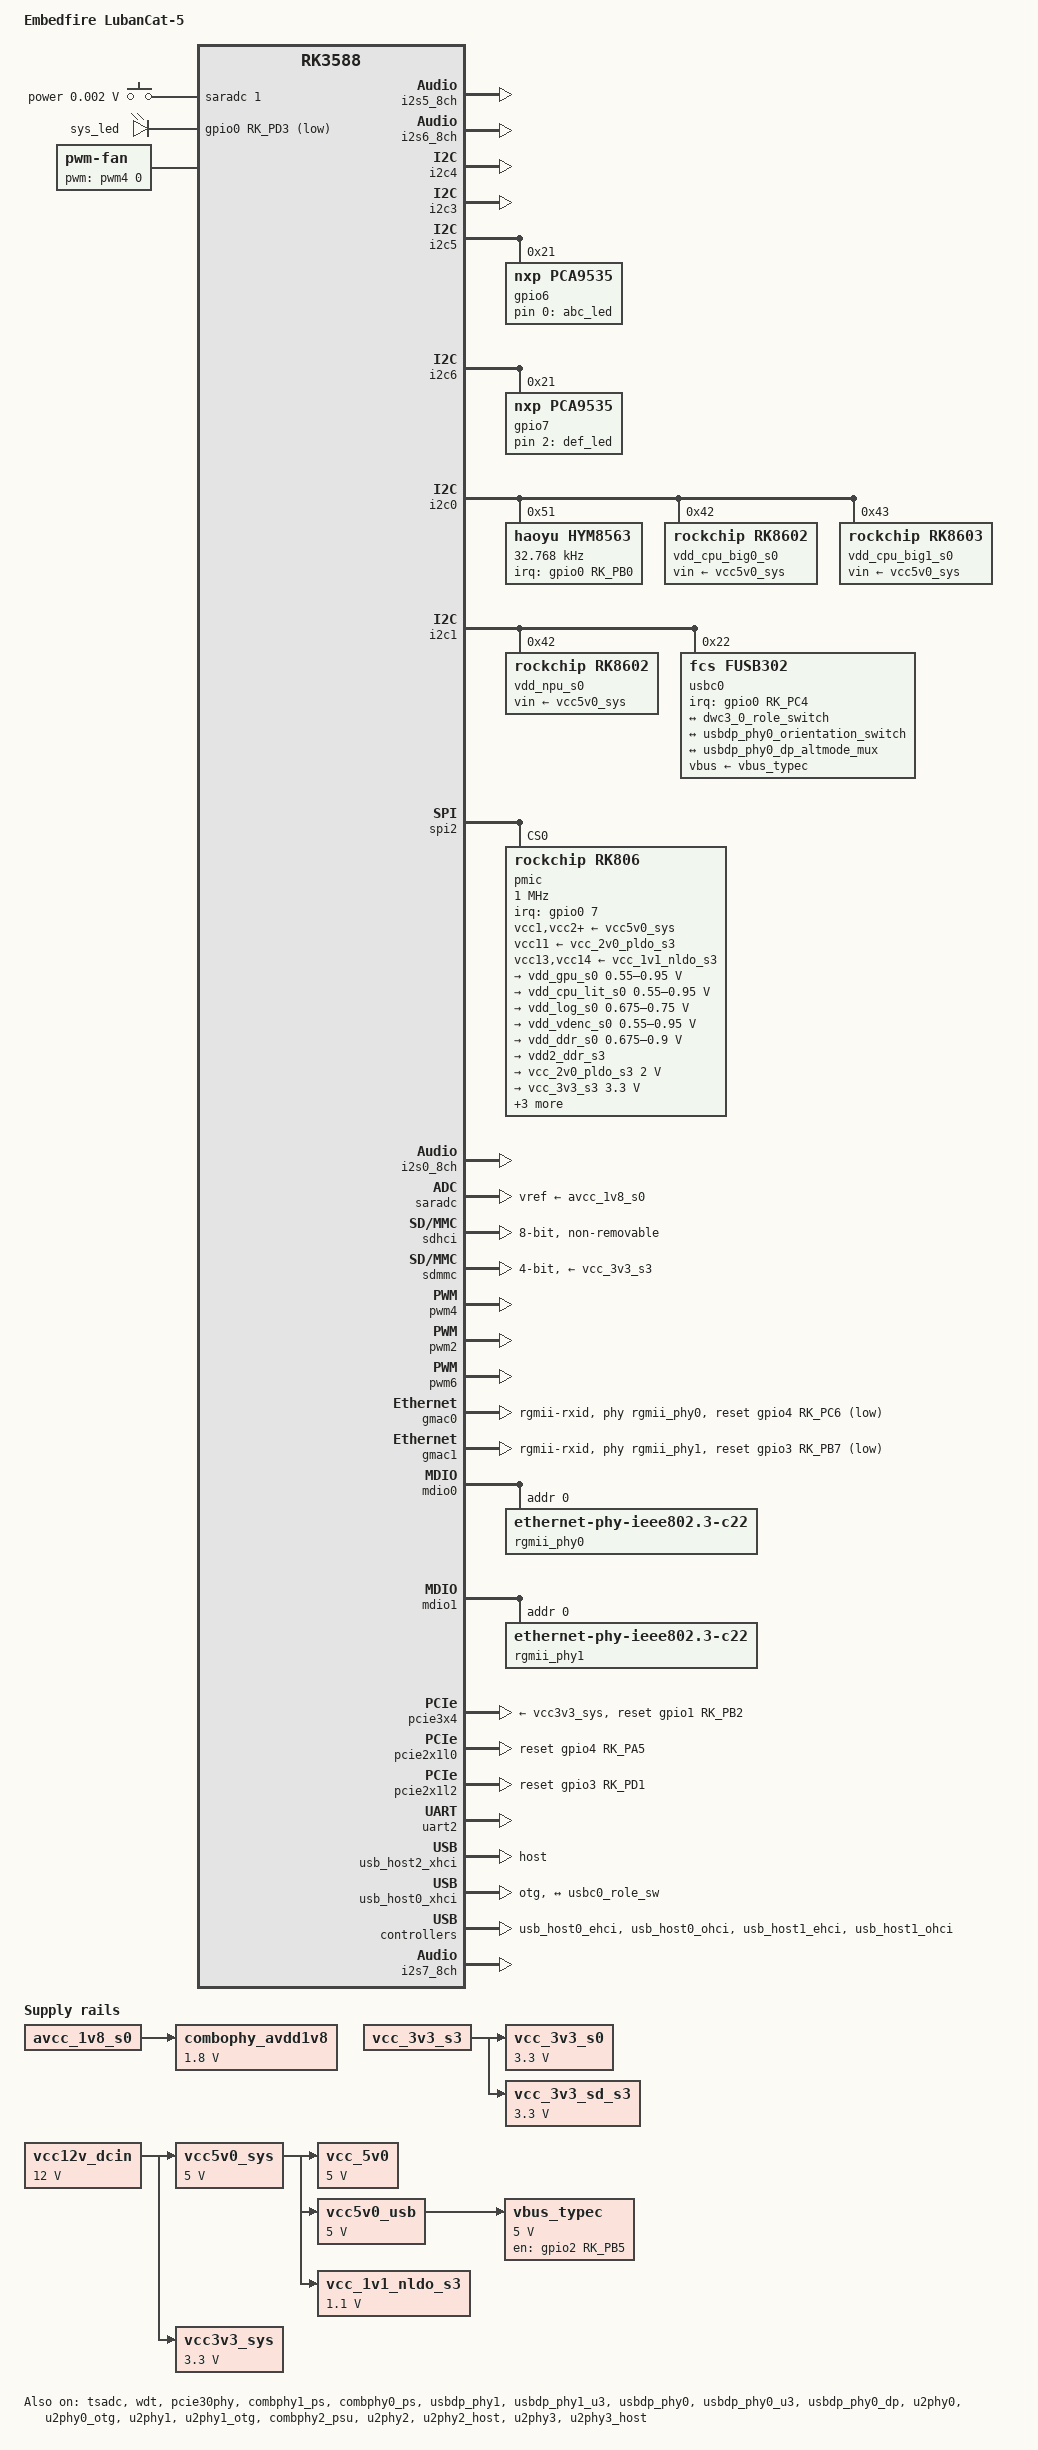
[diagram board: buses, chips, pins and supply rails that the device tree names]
// SPDX-License-Identifier: (GPL-2.0+ OR MIT)
/*
 * Copyright (c) 2021 Rockchip Electronics Co., Ltd.
 * Copyright (c) 2023 EmbedFire <embedfire@embedfire.com>
 */

/dts-v1/;

#include <dt-bindings/gpio/gpio.h>
#include <dt-bindings/input/input.h>
#include <dt-bindings/leds/common.h>
#include <dt-bindings/pinctrl/rockchip.h>
#include <dt-bindings/usb/pd.h>
#include "rk3588.dtsi"

/ {
	model = "Embedfire LubanCat-5";
	compatible = "embedfire,lubancat-5", "rockchip,rk3588";

	adc_keys: adc-keys {
		compatible = "adc-keys";
		io-channels = <&saradc 1>;
		io-channel-names = "buttons";
		keyup-threshold-microvolt = <1800000>;
		poll-interval = <100>;
		
		power {
			label = "power";
			linux,code = <KEY_POWER>;
			press-threshold-microvolt = <1750>;
		};
	};

	leds: leds {
		status = "okay";
		compatible = "gpio-leds";

		sys_led: sys-led {
			label = "sys_led";
			linux,default-trigger = "heartbeat";
			default-state = "on";
			gpios = <&gpio0 RK_PD3 GPIO_ACTIVE_LOW>;
			pinctrl-names = "default";
			pinctrl-0 = <&sys_led_pin>;
		};

		abc_led: abc-led {
			label = "abc_led";
			linux,default-trigger = "heartbeat";
			default-state = "on";
			gpios = <&gpio6 0 GPIO_ACTIVE_HIGH>;
		};

		def_led: def-led {
			label = "def_led";
			linux,default-trigger = "heartbeat";
			default-state = "on";
			gpios = <&gpio7 2 GPIO_ACTIVE_HIGH>;
		};
	};

	vcc12v_dcin: vcc12v-dcin {
		compatible = "regulator-fixed";
		regulator-always-on;
		regulator-boot-on;
		regulator-min-microvolt = <12000000>;
		regulator-max-microvolt = <12000000>;
		regulator-name = "vcc12v_dcin";
	};

	vcc5v0_sys: vcc5v0-sys {
		compatible = "regulator-fixed";
		regulator-name = "vcc5v0_sys";
		regulator-always-on;
		regulator-boot-on;
		regulator-min-microvolt = <5000000>;
		regulator-max-microvolt = <5000000>;
		vin-supply = <&vcc12v_dcin>;
	};

	vcc3v3_sys: vcc3v3-sys {
		compatible = "regulator-fixed";
		regulator-name = "vcc3v3_sys";
		regulator-always-on;
		regulator-boot-on;
		regulator-min-microvolt = <3300000>;
		regulator-max-microvolt = <3300000>;
		vin-supply = <&vcc12v_dcin>;
	};

	vcc_5v0: vcc-5v0 {
		compatible = "regulator-fixed";
		regulator-name = "vcc_5v0";
		regulator-always-on;
		regulator-boot-on;
		regulator-min-microvolt = <5000000>;
		regulator-max-microvolt = <5000000>;
		vin-supply = <&vcc5v0_sys>;
	};

	vcc5v0_usb: vcc5v0-usb {
		compatible = "regulator-fixed";
		regulator-name = "vcc_5v0";
		regulator-always-on;
		regulator-boot-on;
		regulator-min-microvolt = <5000000>;
		regulator-max-microvolt = <5000000>;
		vin-supply = <&vcc5v0_sys>;
	};
	
	combophy_avdd1v8: combophy-avdd1v8 {
		compatible = "regulator-fixed";
		regulator-name = "combophy_avdd1v8";
		regulator-boot-on;
		regulator-min-microvolt = <1800000>;
		regulator-max-microvolt = <1800000>;
		vin-supply = <&avcc_1v8_s0>;
	};

	vcc_1v1_nldo_s3: vcc-1v1-nldo-s3 {
		compatible = "regulator-fixed";
		regulator-name = "vcc_1v1_nldo_s3";
		regulator-always-on;
		regulator-boot-on;
		regulator-min-microvolt = <1100000>;
		regulator-max-microvolt = <1100000>;
		vin-supply = <&vcc5v0_sys>;
	};

	vcc_3v3_s0: vcc-3v3-s0 {
		compatible = "regulator-fixed";
		regulator-name = "vcc_3v3_s0";
		regulator-always-on;
		regulator-boot-on;
		regulator-min-microvolt = <3300000>;
		regulator-max-microvolt = <3300000>;
		vin-supply = <&vcc_3v3_s3>;
	};

	vcc_3v3_sd_s3: vcc-3v3-sd-s3 {
		compatible = "regulator-fixed";
		regulator-name = "vcc_3v3_sd_s3";
		regulator-always-on;
		regulator-boot-on;
		regulator-min-microvolt = <3300000>;
		regulator-max-microvolt = <3300000>;
		vin-supply = <&vcc_3v3_s3>;
	};

	vbus_typec: vbus-typec {
		compatible = "regulator-fixed";
		regulator-name = "vbus_typec";
		regulator-min-microvolt = <5000000>;
		regulator-max-microvolt = <5000000>;
		enable-active-high;
		gpio = <&gpio2 RK_PB5 GPIO_ACTIVE_HIGH>;
		vin-supply = <&vcc5v0_usb>;
		pinctrl-names = "default";
		pinctrl-0 = <&typec_vbus_en>;
	};

	fan: pwm-fan {
		compatible = "pwm-fan";
		#cooling-cells = <2>;
		pwms = <&pwm4 0 5000 0>;
		cooling-levels = <0 100 150 200 255>;
		rockchip,temp-trips = <
			35000	1
			40000	2
			45000	3
			50000	4
		>;
	};
};

&i2s5_8ch {
	status = "okay";
};

&i2s6_8ch {
	status = "okay";
};

&cpu_b0 {
	cpu-supply = <&vdd_cpu_big0_s0>;
	mem-supply = <&vdd_cpu_big0_s0>;
};

&cpu_b1 {
	cpu-supply = <&vdd_cpu_big0_s0>;
	mem-supply = <&vdd_cpu_big0_s0>;
};

&cpu_b2 {
	cpu-supply = <&vdd_cpu_big1_s0>;
	mem-supply = <&vdd_cpu_big1_s0>;
};

&cpu_b3 {
	cpu-supply = <&vdd_cpu_big1_s0>;
	mem-supply = <&vdd_cpu_big1_s0>;
};

&cpu_l0 {
	cpu-supply = <&vdd_cpu_lit_s0>;
	mem-supply = <&vdd_cpu_lit_mem_s0>;
};

&cpu_l1 {
	cpu-supply = <&vdd_cpu_lit_s0>;
	mem-supply = <&vdd_cpu_lit_mem_s0>;
};

&cpu_l2 {
	cpu-supply = <&vdd_cpu_lit_s0>;
	mem-supply = <&vdd_cpu_lit_mem_s0>;
};

&cpu_l3 {
	cpu-supply = <&vdd_cpu_lit_s0>;
	mem-supply = <&vdd_cpu_lit_mem_s0>;
};

&i2c4 {
	status = "okay";
	pinctrl-names = "default";
	pinctrl-0 = <&i2c4m3_xfer>;
};

&i2c3 {
	status = "okay";
	pinctrl-names = "default";
	pinctrl-0 = <&i2c3m0_xfer>;
};

&i2c5 {
	pinctrl-names = "default";
	pinctrl-0 = <&i2c5m2_xfer>;
	status = "okay";

	gpio6: gpio-expander@21 {
		compatible = "nxp,pca9535";
		status = "okay";
		reg = <0x21>;
		gpio-controller;
		#gpio-cells = <2>;
		// pinctrl-names = "default";
		// pinctrl-0 = <&pinctrl_pca9535_1>;
		// interrupt-parent = <&gpio2>;
		// interrupts = <RK_PC4 IRQ_TYPE_LEVEL_HIGH>;
		// interrupt-controller;
		// #interrupt-cells = <2>;
	};
};

&i2c6 {
	status = "okay";
	pinctrl-names = "default";
	pinctrl-0 = <&i2c6m0_xfer>;

	gpio7: gpio-expander@21 {
		compatible = "nxp,pca9535";
		status = "okay";
		reg = <0x21>;
		gpio-controller;
		#gpio-cells = <2>;
		// pinctrl-names = "default";
		// pinctrl-0 = <&pinctrl_pca9535_2>;
		// interrupt-parent = <&gpio2>;
		// interrupts = <RK_PC5 IRQ_TYPE_LEVEL_HIGH>;
		// interrupt-controller;
		// #interrupt-cells = <2>;
	};
};


&i2c0 {
	pinctrl-names = "default";
	pinctrl-0 = <&i2c0m2_xfer>;
	status = "okay";

	hym8563: hym8563@51 {
		compatible = "haoyu,hym8563";
		reg = <0x51>;
		#clock-cells = <0>;
		clock-frequency = <32768>;
		clock-output-names = "hym8563";
		pinctrl-names = "default";
		pinctrl-0 = <&hym8563_int>;
		interrupt-parent = <&gpio0>;
		interrupts = <RK_PB0 IRQ_TYPE_LEVEL_LOW>;
		wakeup-source;
	};

	vdd_cpu_big0_s0: regulator@42 {
		compatible = "rockchip,rk8602";
		reg = <0x42>;
		fcs,suspend-voltage-selector = <1>;
		regulator-name = "vdd_cpu_big0_s0";
		regulator-always-on;
		regulator-boot-on;
		regulator-min-microvolt = <550000>;
		regulator-max-microvolt = <1050000>;
		regulator-ramp-delay = <2300>;
		vin-supply = <&vcc5v0_sys>;

		regulator-state-mem {
			regulator-off-in-suspend;
		};
	};

	vdd_cpu_big1_s0: regulator@43 {
		compatible = "rockchip,rk8603", "rockchip,rk8602";
		reg = <0x43>;
		fcs,suspend-voltage-selector = <1>;
		regulator-name = "vdd_cpu_big1_s0";
		regulator-always-on;
		regulator-boot-on;
		regulator-min-microvolt = <550000>;
		regulator-max-microvolt = <1050000>;
		regulator-ramp-delay = <2300>;
		vin-supply = <&vcc5v0_sys>;

		regulator-state-mem {
			regulator-off-in-suspend;
		};
	};
};

&i2c1 {
	pinctrl-names = "default";
	pinctrl-0 = <&i2c1m2_xfer>;
	status = "okay";

	vdd_npu_s0: vdd_npu_mem_s0: rk8602@42 {
		compatible = "rockchip,rk8602";
		reg = <0x42>;
		vin-supply = <&vcc5v0_sys>;
		regulator-compatible = "rk860x-reg";
		regulator-name = "vdd_npu_s0";
		regulator-min-microvolt = <550000>;
		regulator-max-microvolt = <950000>;
		regulator-ramp-delay = <2300>;
		rockchip,suspend-voltage-selector = <1>;
		regulator-boot-on;
		regulator-always-on;
		regulator-state-mem {
			regulator-off-in-suspend;
		};
	};

	/* Typec Controller Fusb302 */
	usbc0: fusb302@22 {
		compatible = "fcs,fusb302";
		reg = <0x22>;
		interrupt-parent = <&gpio0>;
		interrupts = <RK_PC4 IRQ_TYPE_LEVEL_LOW>;
		pinctrl-names = "default";
		pinctrl-0 = <&fusb302_int>;
		vbus-supply = <&vbus_typec>;
		status = "okay";

		ports {
			#address-cells = <1>;
			#size-cells = <0>;

			port@0 {
				reg = <0>;
				usbc0_role_sw: endpoint@0 {
					remote-endpoint = <&dwc3_0_role_switch>;
				};
			};
		};

		usb_con: connector {
			compatible = "usb-c-connector";
			label = "USB-C";
			data-role = "dual";
			power-role = "dual";
			try-power-role = "sink";
			op-sink-microwatt = <1000000>;
			sink-pdos =
				<PDO_FIXED(5000, 1000, PDO_FIXED_USB_COMM)>;
			source-pdos =
				<PDO_FIXED(5000, 3000, PDO_FIXED_USB_COMM)>;

			altmodes {
				#address-cells = <1>;
				#size-cells = <0>;

				altmode@0 {
					reg = <0>;
					svid = <0xff01>;
					vdo = <0xffffffff>;
				};
			};

			ports {
				#address-cells = <1>;
				#size-cells = <0>;

				port@0 {
					reg = <0>;
					usbc0_orien_sw: endpoint {
						remote-endpoint = <&usbdp_phy0_orientation_switch>;
					};
				};

				port@1 {
					reg = <1>;
					dp_altmode_mux: endpoint {
						remote-endpoint = <&usbdp_phy0_dp_altmode_mux>;
					};
				};
			};
		};
	};
};

&spi2 {
	status = "okay";
	assigned-clocks = <&cru CLK_SPI2>;
	assigned-clock-rates = <200000000>;
	pinctrl-names = "default";
	pinctrl-0 = <&spi2m2_cs0 &spi2m2_pins>;
	num-cs = <1>;

	pmic@0 {
		compatible = "rockchip,rk806";
		spi-max-frequency = <1000000>;
		reg = <0x0>;

		interrupt-parent = <&gpio0>;
		interrupts = <7 IRQ_TYPE_LEVEL_LOW>;

		pinctrl-names = "default";
		pinctrl-0 = <&pmic_pins>, <&rk806_dvs1_null>,
			    <&rk806_dvs2_null>, <&rk806_dvs3_null>;

		system-power-controller;

		vcc1-supply = <&vcc5v0_sys>;
		vcc2-supply = <&vcc5v0_sys>;
		vcc3-supply = <&vcc5v0_sys>;
		vcc4-supply = <&vcc5v0_sys>;
		vcc5-supply = <&vcc5v0_sys>;
		vcc6-supply = <&vcc5v0_sys>;
		vcc7-supply = <&vcc5v0_sys>;
		vcc8-supply = <&vcc5v0_sys>;
		vcc9-supply = <&vcc5v0_sys>;
		vcc10-supply = <&vcc5v0_sys>;
		vcc11-supply = <&vcc_2v0_pldo_s3>;
		vcc12-supply = <&vcc5v0_sys>;
		vcc13-supply = <&vcc_1v1_nldo_s3>;
		vcc14-supply = <&vcc_1v1_nldo_s3>;
		vcca-supply = <&vcc5v0_sys>;

		gpio-controller;
		#gpio-cells = <2>;

		rk806_dvs1_null: dvs1-null-pins {
			pins = "gpio_pwrctrl1";
			function = "pin_fun0";
		};

		rk806_dvs2_null: dvs2-null-pins {
			pins = "gpio_pwrctrl2";
			function = "pin_fun0";
		};

		rk806_dvs3_null: dvs3-null-pins {
			pins = "gpio_pwrctrl3";
			function = "pin_fun0";
		};

		regulators {
			vdd_gpu_s0: vdd_gpu_mem_s0: dcdc-reg1 {
				regulator-boot-on;
				regulator-min-microvolt = <550000>;
				regulator-max-microvolt = <950000>;
				regulator-ramp-delay = <12500>;
				regulator-name = "vdd_gpu_s0";
				regulator-enable-ramp-delay = <400>;

				regulator-state-mem {
					regulator-off-in-suspend;
				};
			};

			vdd_cpu_lit_s0: vdd_cpu_lit_mem_s0: dcdc-reg2 {
				regulator-always-on;
				regulator-boot-on;
				regulator-min-microvolt = <550000>;
				regulator-max-microvolt = <950000>;
				regulator-ramp-delay = <12500>;
				regulator-name = "vdd_cpu_lit_s0";

				regulator-state-mem {
					regulator-off-in-suspend;
				};
			};

			vdd_log_s0: dcdc-reg3 {
				regulator-always-on;
				regulator-boot-on;
				regulator-min-microvolt = <675000>;
				regulator-max-microvolt = <750000>;
				regulator-ramp-delay = <12500>;
				regulator-name = "vdd_log_s0";

				regulator-state-mem {
					regulator-off-in-suspend;
					regulator-suspend-microvolt = <750000>;
				};
			};

			vdd_vdenc_s0: vdd_vdenc_mem_s0: dcdc-reg4 {
				regulator-always-on;
				regulator-boot-on;
				regulator-min-microvolt = <550000>;
				regulator-max-microvolt = <950000>;
				regulator-init-microvolt = <750000>;
				regulator-ramp-delay = <12500>;
				regulator-name = "vdd_vdenc_s0";

				regulator-state-mem {
					regulator-off-in-suspend;
				};
			};

			vdd_ddr_s0: dcdc-reg5 {
				regulator-always-on;
				regulator-boot-on;
				regulator-min-microvolt = <675000>;
				regulator-max-microvolt = <900000>;
				regulator-ramp-delay = <12500>;
				regulator-name = "vdd_ddr_s0";

				regulator-state-mem {
					regulator-off-in-suspend;
					regulator-suspend-microvolt = <850000>;
				};
			};

			vdd2_ddr_s3: dcdc-reg6 {
				regulator-always-on;
				regulator-boot-on;
				regulator-name = "vdd2_ddr_s3";

				regulator-state-mem {
					regulator-on-in-suspend;
				};
			};

			vcc_2v0_pldo_s3: dcdc-reg7 {
				regulator-always-on;
				regulator-boot-on;
				regulator-min-microvolt = <2000000>;
				regulator-max-microvolt = <2000000>;
				regulator-ramp-delay = <12500>;
				regulator-name = "vdd_2v0_pldo_s3";

				regulator-state-mem {
					regulator-on-in-suspend;
					regulator-suspend-microvolt = <2000000>;
				};
			};

			vcc_3v3_s3: dcdc-reg8 {
				regulator-always-on;
				regulator-boot-on;
				regulator-min-microvolt = <3300000>;
				regulator-max-microvolt = <3300000>;
				regulator-name = "vcc_3v3_s3";

				regulator-state-mem {
					regulator-on-in-suspend;
					regulator-suspend-microvolt = <3300000>;
				};
			};

			vddq_ddr_s0: dcdc-reg9 {
				regulator-always-on;
				regulator-boot-on;
				regulator-name = "vddq_ddr_s0";

				regulator-state-mem {
					regulator-off-in-suspend;
				};
			};

			vcc_1v8_s3: dcdc-reg10 {
				regulator-always-on;
				regulator-boot-on;
				regulator-min-microvolt = <1800000>;
				regulator-max-microvolt = <1800000>;
				regulator-name = "vcc_1v8_s3";

				regulator-state-mem {
					regulator-on-in-suspend;
					regulator-suspend-microvolt = <1800000>;
				};
			};

			avcc_1v8_s0: pldo-reg1 {
				regulator-always-on;
				regulator-boot-on;
				regulator-min-microvolt = <1800000>;
				regulator-max-microvolt = <1800000>;
				regulator-name = "avcc_1v8_s0";

				regulator-state-mem {
					regulator-off-in-suspend;
				};
			};

			vcc_1v8_s0: pldo-reg2 {
				regulator-always-on;
				regulator-boot-on;
				regulator-min-microvolt = <1800000>;
				regulator-max-microvolt = <1800000>;
				regulator-name = "vcc_1v8_s0";

				regulator-state-mem {
					regulator-off-in-suspend;
					regulator-suspend-microvolt = <1800000>;
				};
			};

			avdd_1v2_s0: pldo-reg3 {
				regulator-always-on;
				regulator-boot-on;
				regulator-min-microvolt = <1200000>;
				regulator-max-microvolt = <1200000>;
				regulator-name = "avdd_1v2_s0";

				regulator-state-mem {
					regulator-off-in-suspend;
				};
			};

			vccio_sd_s0: pldo-reg5 {
				regulator-always-on;
				regulator-boot-on;
				regulator-min-microvolt = <1800000>;
				regulator-max-microvolt = <3300000>;
				regulator-ramp-delay = <12500>;
				regulator-name = "vccio_sd_s0";

				regulator-state-mem {
					regulator-off-in-suspend;
				};
			};

			pldo6_s3: pldo-reg6 {
				regulator-always-on;
				regulator-boot-on;
				regulator-min-microvolt = <1800000>;
				regulator-max-microvolt = <1800000>;
				regulator-name = "pldo6_s3";

				regulator-state-mem {
					regulator-on-in-suspend;
					regulator-suspend-microvolt = <1800000>;
				};
			};

			vdd_0v75_s3: nldo-reg1 {
				regulator-always-on;
				regulator-boot-on;
				regulator-min-microvolt = <750000>;
				regulator-max-microvolt = <750000>;
				regulator-name = "vdd_0v75_s3";

				regulator-state-mem {
					regulator-on-in-suspend;
					regulator-suspend-microvolt = <750000>;
				};
			};

			vdd_ddr_pll_s0: nldo-reg2 {
				regulator-always-on;
				regulator-boot-on;
				regulator-min-microvolt = <850000>;
				regulator-max-microvolt = <850000>;
				regulator-name = "vdd_ddr_pll_s0";

				regulator-state-mem {
					regulator-off-in-suspend;
					regulator-suspend-microvolt = <850000>;
				};
			};

			avdd_0v75_s0: nldo-reg3 {
				regulator-always-on;
				regulator-boot-on;
				regulator-min-microvolt = <750000>;
				regulator-max-microvolt = <750000>;
				regulator-name = "avdd_0v75_s0";

				regulator-state-mem {
					regulator-off-in-suspend;
				};
			};

			vdd_0v85_s0: nldo-reg4 {
				regulator-always-on;
				regulator-boot-on;
				regulator-min-microvolt = <850000>;
				regulator-max-microvolt = <850000>;
				regulator-name = "vdd_0v85_s0";

				regulator-state-mem {
					regulator-off-in-suspend;
				};
			};

			vdd_0v75_s0: nldo-reg5 {
				regulator-always-on;
				regulator-boot-on;
				regulator-min-microvolt = <750000>;
				regulator-max-microvolt = <750000>;
				regulator-name = "vdd_0v75_s0";

				regulator-state-mem {
					regulator-off-in-suspend;
				};
			};
		};
	};
};

&i2s0_8ch {
    status = "okay";
    rockchip,clk-trcm = <1>;
    pinctrl-0 = <&i2s0_lrck
             &i2s0_sclk
             &i2s0_sdi0
             &i2s0_sdo0>;
};

&saradc {
	status = "okay";
	vref-supply = <&avcc_1v8_s0>;
};

&tsadc {
	status = "okay";
};

&sdhci {
	assigned-clock-rates = <200000000>, <24000000>, <200000000>;
	bus-width = <8>;
	max-frequency = <200000000>;
	mmc-hs200-1_8v;		
	non-removable;	
	pinctrl-names = "default";
	pinctrl-0 = <&emmc_bus8 &emmc_clk &emmc_cmd>;	
	supports-emmc;
	status = "okay";
};

&sdmmc {
	bus-width = <4>;
	cap-mmc-highspeed;
	cap-sd-highspeed;
	disable-wp;
	no-mmc;
	no-sdio;
	max-frequency = <50000000>;
	vmmc-supply = <&vcc_3v3_s3>;
	vqmmc-supply = <&vccio_sd_s0>;
	status = "okay";
};

&pwm4 {
	pinctrl-0 = <&pwm4m0_pins>;
	status = "okay";
};

&pwm2 {
	pinctrl-0 = <&pwm2m0_pins>;
	status = "okay";
};

&pwm6 {
	pinctrl-0 = <&pwm6m0_pins>;
	status = "okay";
};

/* this is a watchdog */
&wdt {
	status = "okay";
};

&gmac0 {
	/* Use rgmii-rxid mode to disable rx delay inside Soc */
	phy-mode = "rgmii-rxid";
	clock_in_out = "output";

	snps,reset-gpio = <&gpio4 RK_PC6 GPIO_ACTIVE_LOW>;
	snps,reset-active-low;
	/* Reset time is 20ms, 100ms for rtl8211f */
	snps,reset-delays-us = <0 20000 100000>;

	pinctrl-names = "default";
	pinctrl-0 = <&gmac0_miim
			 &gmac0_tx_bus2
			 &gmac0_rx_bus2
			 &gmac0_rgmii_clk
			 &gmac0_rgmii_bus>;

	tx_delay = <0x20>;
	/* rx_delay = <0x4f>; */

	phy-handle = <&rgmii_phy0>;
	status = "okay";
};

&gmac1 {
	/* Use rgmii-rxid mode to disable rx delay inside Soc */
	phy-mode = "rgmii-rxid";
	clock_in_out = "output";

	snps,reset-gpio = <&gpio3 RK_PB7 GPIO_ACTIVE_LOW>;
	snps,reset-active-low;
	/* Reset time is 20ms, 100ms for rtl8211f */
	snps,reset-delays-us = <0 20000 100000>;

	pinctrl-names = "default";
	pinctrl-0 = <&gmac1_miim
			 &gmac1_tx_bus2
			 &gmac1_rx_bus2
			 &gmac1_rgmii_clk
			 &gmac1_rgmii_bus>;

	tx_delay = <0x20>;
	/* rx_delay = <0x4f>; */

	phy-handle = <&rgmii_phy1>;
	status = "okay";
};

&mdio0 {
	rgmii_phy0: phy@0 {
		compatible = "ethernet-phy-ieee802.3-c22";
		reg = <0x00>;
	};
};

&mdio1 {
	rgmii_phy1: phy@0 {
		compatible = "ethernet-phy-ieee802.3-c22";
		reg = <0x00>;
	};
};

&pcie30phy {
	status = "okay";
};

&pcie3x4 {
	reset-gpios = <&gpio1 RK_PB2 GPIO_ACTIVE_HIGH>;
	vpcie3v3-supply = <&vcc3v3_sys>;
	status = "okay";
};

&combphy1_ps {
	status = "okay";
};

&pcie2x1l0 {
	reset-gpios = <&gpio4 RK_PA5 GPIO_ACTIVE_HIGH>;
	disable-gpios = <&gpio0 RK_PC6 GPIO_ACTIVE_HIGH>;
	status = "okay";
};

/* SATA30/PCIe20x1_2 Combo PHY */
&combphy0_ps {
	status = "okay";
};

&pcie2x1l2 {
	reset-gpios = <&gpio3 RK_PD1 GPIO_ACTIVE_HIGH>;
	disable-gpios = <&gpio3 RK_PC1 GPIO_ACTIVE_HIGH>;
	status = "okay";
};

&uart2 {
	pinctrl-0 = <&uart2m0_xfer>;
	status = "okay";
};

/* USB3.1/DP Combo PHY1 */
&usbdp_phy1 {
	status = "okay";
};

&usbdp_phy1_u3 {
	status = "okay";
};

&usb_host2_xhci {
	status = "okay";
	dr_mode = "host";
};

/* USB3.1/DP Combo PHY0 */
&usbdp_phy0 {
	orientation-switch;
	svid = <0xff01>;
	sbu1-dc-gpios = <&gpio1 RK_PA0 GPIO_ACTIVE_HIGH>;
	sbu2-dc-gpios = <&gpio1 RK_PA1 GPIO_ACTIVE_HIGH>;
	status = "okay";

	port {
		#address-cells = <1>;
		#size-cells = <0>;
		usbdp_phy0_orientation_switch: endpoint@0 {
			reg = <0>;
			remote-endpoint = <&usbc0_orien_sw>;
		};

		usbdp_phy0_dp_altmode_mux: endpoint@1 {
			reg = <1>;
			remote-endpoint = <&dp_altmode_mux>;
		};
	};
};

&usbdp_phy0_u3 {
	status = "okay";
};

&usbdp_phy0_dp {
	status = "okay";
};

/* USB3.1 OTG0 Controller  */
&usb_host0_xhci {
	dr_mode = "otg";
	usb-role-switch;
	
	status = "okay";
	port {
		#address-cells = <1>;
		#size-cells = <0>;
		dwc3_0_role_switch: endpoint@0 {
			reg = <0>;
			remote-endpoint = <&usbc0_role_sw>;
		};
	};
};

/* USB2.0 PHY0 */
&u2phy0 {
	status = "okay";
};

&u2phy0_otg {
	rockchip,typec-vbus-det;
	status = "okay";
};

&u2phy1 {
	status = "okay";
};

&u2phy1_otg {
	status = "okay";
};

/* USB3.1/SATA/PCIe20x1_1 Combo PHY */
&combphy2_psu {
	status = "okay";
};

/* USB3.1 HOST2 Controller  */
&usb_host2_xhci {
	dr_mode = "host";
	status = "okay";
};

/* USB2.0 HOST0 PHY2 */
&u2phy2 {
	status = "okay";
};

&u2phy2_host {
	phy-supply = <&vcc5v0_usb>;
	status = "okay";
};

/* USB2.0 HOST0 Controller */
&usb_host0_ehci {
	status = "okay";
};

&usb_host0_ohci {
	status = "okay";
};

/* USB2.0 HOST1 PHY3 */
&u2phy3 {
	status = "okay";
};

&u2phy3_host {
	phy-supply = <&vcc5v0_usb>;
	status = "okay";
};

/* USB2.0 HOST1 Controller */
&usb_host1_ehci {
	status = "okay";
};

&usb_host1_ohci {
	status = "okay";
};

&i2s7_8ch{
	status = "okay";
};

&pinctrl {
    hym8563 {
        hym8563_int: hym8563-int {
            rockchip,pins = <0 RK_PB0 RK_FUNC_GPIO &pcfg_pull_up>;
        };
    };

	headphone {
		hp_det: hp-det {
			rockchip,pins = <1 RK_PD3 RK_FUNC_GPIO &pcfg_pull_none>;
		};
	};

	usb-typec {
		fusb302_int: fusb302-int {
			rockchip,pins = <0 RK_PC4 RK_FUNC_GPIO &pcfg_pull_up>;
		};

		typec_vbus_en: typec-vbus-en {
			rockchip,pins = <2 RK_PB5 RK_FUNC_GPIO &pcfg_pull_none>;
		};
	};

	leds {
		sys_led_pin: sys-led-pin {
			rockchip,pins = <0 RK_PD3 RK_FUNC_GPIO &pcfg_pull_none>;
		};
	};

	io {
		pinctrl_pca9535_1: pinctrl-pca9535-1{
			rockchip,pins = <2 RK_PC4 RK_FUNC_GPIO &pcfg_pull_none>;
		};
		pinctrl_pca9535_2: pinctrl-pca9535-2{
			rockchip,pins = <2 RK_PC5 RK_FUNC_GPIO &pcfg_pull_none>;
		};
	};

};
